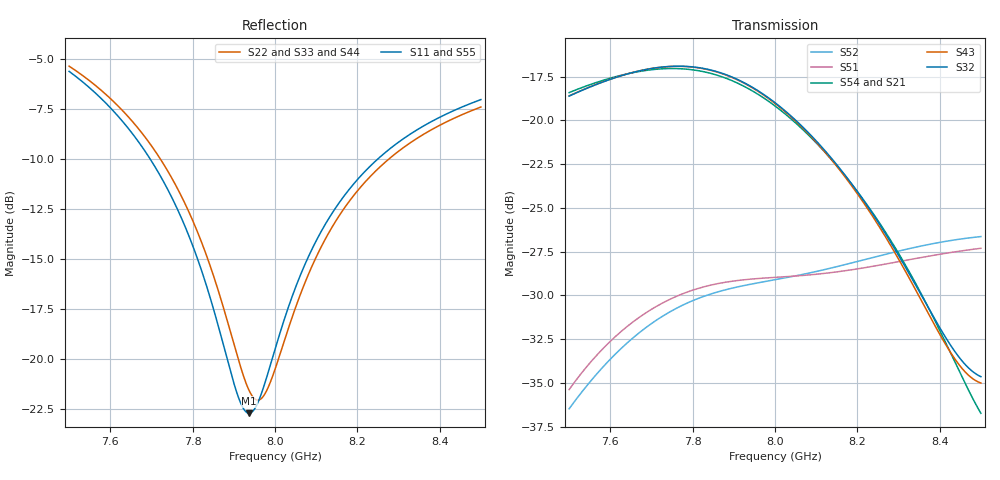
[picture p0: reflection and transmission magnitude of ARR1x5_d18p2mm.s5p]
! Touchstone file exported from HFSS 2025.1.0
!  File:  C:/Users/user/Documents/Ansoft/TFG_UWB-MIMO-Array.aedt
!  Generated:  06:37:38 PM Nov 20, 2026
!  Design:  ARR1x5_P01_MS2_dparam
!  Project:  TFG_UWB-MIMO-Array
!  Setup:  Setup_ch9
!  Solution:  Sweep_7p5_8p5
! Variables:
!  arr_d = 18.2mm
!  board_m = 13mm
!  board_x = 98.8mm
!  board_y = 26mm
!  cu_t = 0.035mm
!  line_w = 3.92mm
!  pad_xy = 22mm
!  pad_zn = 25mm
!  pad_zp = 33mm
!  patch_L = 7.322mm
!  patch_W = 11.421266mm
!  sub_h = 2.07mm
!  tr_l = 7.1mm
!  tr_w = 0.8mm
# GHz S MA R 50.000000
! Terminal data exported
! Port[1] = P1
! Port[2] = P2
! Port[3] = P3
! Port[4] = P4
! Port[5] = P5
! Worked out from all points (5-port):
!   1001 points, 7.5 GHz to 8.5 GHz, reference 50 ohm
!   strongest paths, dB at 7.5 GHz, 7.75 GHz, 8 GHz, 8.25 GHz, 8.5 GHz:
!     S32: -18.6, -16.9, -19.0, -25.8, -34.6
!     S43: -18.6, -16.9, -19.0, -26.0, -35.0
!     S54: -18.4, -17.0, -19.2, -25.7, -36.7
!     S21: -18.4, -17.0, -19.2, -25.8, -37.4
!     S51: -35.4, -30.2, -29.0, -28.3, -27.3
!     S52: -36.5, -30.9, -29.1, -27.8, -26.6
!   lowest |S11| = -22.7 dB at 7.937 GHz (marker M1), VSWR 1.16, Z = 57.4 + j2.77 ohm
!   |S11| at or under -10 dB: 7.697 GHz to 8.249 GHz (551.7 MHz wide, 6.92 % of centre)
